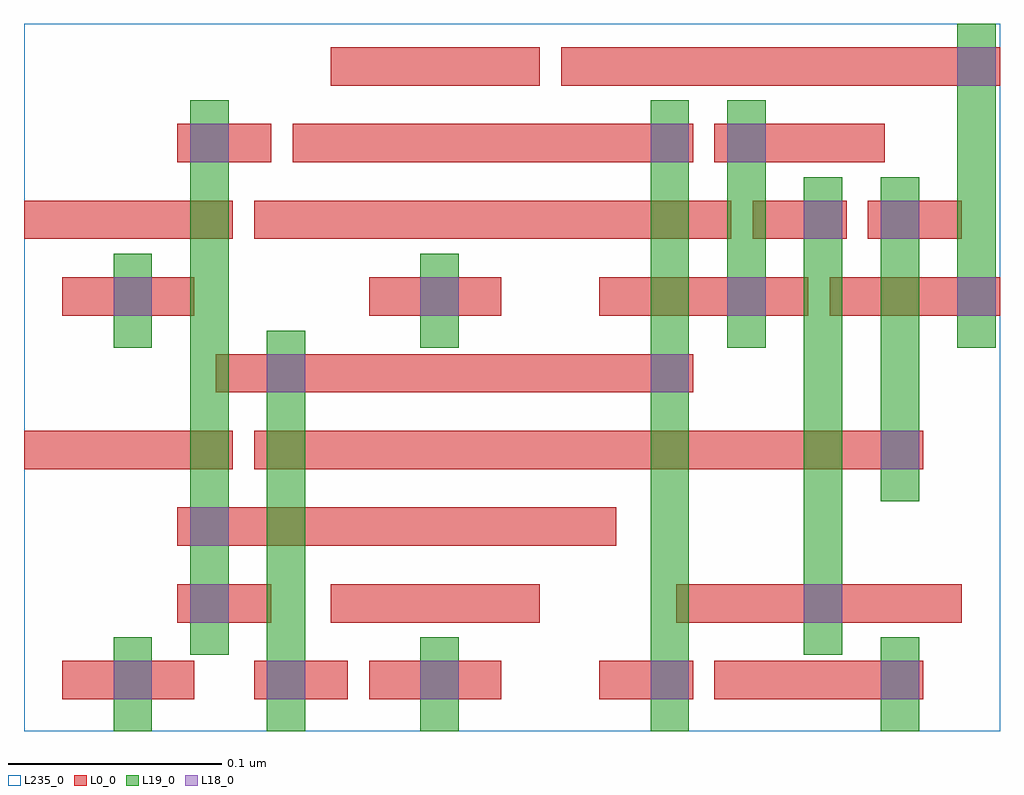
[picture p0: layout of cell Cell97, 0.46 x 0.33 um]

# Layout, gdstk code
import gdstk
lib = gdstk.Library(unit=1e-6, precision=2.5e-10)
def R(c, l, rs):  # rectangles x0, y0, x1, y1
    for r in rs: c.add(gdstk.rectangle(r[:2], r[2:], *l))
def A(c, l, x, y, w, h, nx, ny, dx, dy):  # array of equal rectangles
    R(c, l, [(x+i*dx, y+j*dy, x+i*dx+w, y+j*dy+h) for i in range(nx) for j in range(ny)])
L0_0 = (0, 0)
L18_0 = (18, 0)
L19_0 = (19, 0)
L235_0 = (235, 0)

cell97 = lib.new_cell('Cell97')
R(cell97, L0_0, [(0.022,-0.001,0.084,0.017), (0.112,-0.001,0.156,0.017), (0.166,-0.001,0.228,0.017), (0.274,-0.001,0.318,0.017), (0.328,-0.001,0.426,0.017), (0.076,0.035,0.12,0.053), (0.148,0.035,0.246,0.053), (0.31,0.035,0.444,0.053), (0.076,0.071,0.282,0.089), (0.004,0.107,0.102,0.125), (0.112,0.107,0.426,0.125), (0.094,0.143,0.318,0.161), (0.022,0.179,0.084,0.197), (0.166,0.179,0.228,0.197), (0.274,0.179,0.372,0.197), (0.382,0.179,0.462,0.197), (0.004,0.215,0.102,0.233), (0.112,0.215,0.336,0.233), (0.346,0.215,0.39,0.233), (0.4,0.215,0.444,0.233), (0.076,0.251,0.12,0.269), (0.13,0.251,0.318,0.269), (0.328,0.251,0.408,0.269), (0.148,0.287,0.246,0.305), (0.256,0.287,0.462,0.305)])
A(cell97, L18_0, 0.046, -0.001, 0.018, 0.018, 3, 1, 0.072, 0)
A(cell97, L18_0, 0.406, -0.001, 0.018, 0.018, 1, 3, 0, 0.108)
A(cell97, L18_0, 0.046, 0.179, 0.018, 0.018, 3, 1, 0.144, 0)
R(cell97, L18_0, [(0.298,-0.001,0.316,0.017), (0.082,0.035,0.1,0.053), (0.37,0.035,0.388,0.053), (0.082,0.071,0.1,0.089), (0.118,0.143,0.136,0.161), (0.298,0.143,0.316,0.161), (0.442,0.179,0.46,0.197), (0.37,0.215,0.388,0.233), (0.082,0.251,0.1,0.269), (0.298,0.251,0.316,0.269), (0.334,0.251,0.352,0.269), (0.442,0.287,0.46,0.305)])
R(cell97, L19_0, [(0.046,-0.016,0.064,0.028), (0.118,-0.016,0.136,0.172), (0.19,-0.016,0.208,0.028), (0.298,-0.016,0.316,0.28), (0.406,-0.016,0.424,0.028), (0.082,0.02,0.1,0.28), (0.37,0.02,0.388,0.244), (0.406,0.092,0.424,0.244), (0.046,0.164,0.064,0.208), (0.19,0.164,0.208,0.208), (0.334,0.164,0.352,0.28), (0.442,0.164,0.46,0.316)])
R(cell97, L235_0, [(0.004,-0.016,0.462,0.316)])

lib.write_gds('Cell97.gds')
